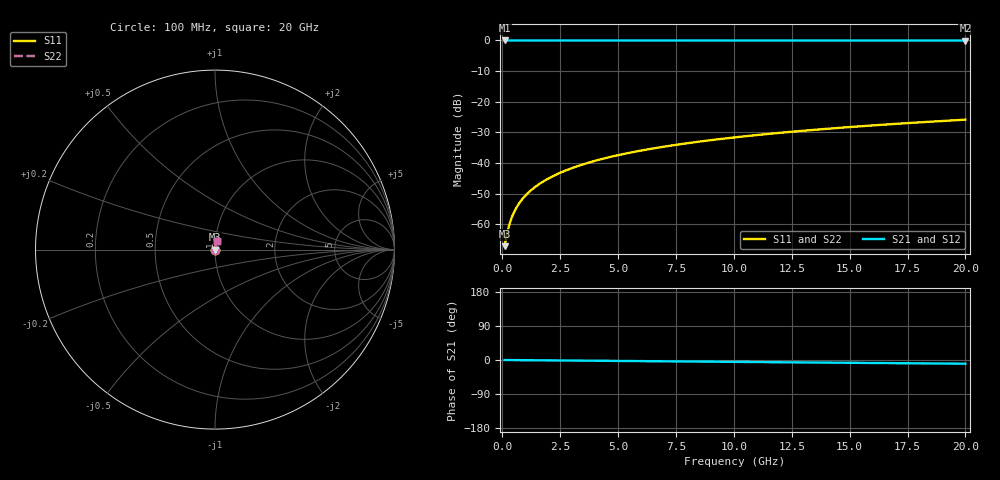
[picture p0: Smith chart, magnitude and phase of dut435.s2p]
! Touchstone file exported from HFSS 2026.1.0
!  File:  C:/ffzhzh/LocalFiles/Ansys_Project_Files/temp_train_TSV_435_1783021259_51716.aedt
!  Generated:  03:42:43 AM Jul  3, 2026
!  Design:  TSV
!  Project:  temp_train_TSV_435_1783021259_51716
! Variables:
!  h_bsmrdl = 2um
!  h_ox = 20um
!  h_rdl = 5um
!  h_sub = 96.08um
!  h_tmrdl = 5um
!  h_tsv = 96.08um
!  h_via = 3um
!  l_bsmrdl = 300um
!  l_sub = 412.6um
!  l_tmrdl = 200um
!  m_sub = 200um
!  pitch = 39.03um
!  r_tsv = 6.3um
!  s_tmrdl = 10um
!  w_bsmrdl = 18um
!  w_sub = 500um
!  w_tmrdl = 12um
!  x_tsv_center1 = 206um
!  x_tsv_center2 = 524um
!  x_tsv_center3 = 736um
!  x_tsv_center4 = 1054um
!  x_tsv_center5 = 1266um
!  x_tsv_center6 = 1584um
# GHz S MA R 50.000000
! Terminal data exported
! Port[1] = TSV1_1_T1
! Port[2] = TSV1_1_T2
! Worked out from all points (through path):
!   200 points, 100 MHz to 20 GHz, reference 50 ohm
!   highest |S21| = 0.00 dB at 100 MHz (marker M1); lowest = 0.0 dB at 20 GHz (marker M2)
!   group delay of S21, straight-line fit = 1.36 ps
!   lowest |S11| = -67.2 dB at 100 MHz (marker M3), VSWR 1.00, Z = 50 + j0.0307 ohm
!   |S11| at or under -10 dB: start of sweep to end of sweep
!   |S22| runs from -67.2 to -25.9 dB; largest |S21 - S12| = 1.3e-15
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0.1  0.0004373 44.5  0.9997 -0.1  0.9997 -0.1  0.0004373 44.5
! Gamma 0 0 0 0
! Port Impedance 50 0 50 0
0.2  0.0006914 62.1  0.9997 -0.1  0.9997 -0.1  0.0006914 62.1
0.3  0.0009735 69.4  0.9997 -0.2  0.9997 -0.2  0.0009735 69.4
0.4  0.001261 73.2  0.9996 -0.2  0.9996 -0.2  0.001261 73.2
0.5  0.001548 75.3  0.9996 -0.3  0.9996 -0.3  0.001548 75.3
0.6  0.001831 76.7  0.9996 -0.3  0.9996 -0.3  0.001831 76.7
0.7  0.002111 77.7  0.9996 -0.4  0.9996 -0.4  0.002111 77.7
0.8  0.002388 78.4  0.9995 -0.4  0.9995 -0.4  0.002388 78.4
1  0.002933 79.5  0.9995 -0.5  0.9995 -0.5  0.002933 79.5
1.4  0.004003 80.8  0.9994 -0.7  0.9994 -0.7  0.004003 80.8
1.7  0.004797 81.5  0.9993 -0.9  0.9993 -0.9  0.004797 81.5
2  0.005589 82.0  0.9993 -1.0  0.9993 -1.0  0.005589 82.0
2.7  0.007427 82.6  0.9992 -1.4  0.9992 -1.4  0.007427 82.6
3.5  0.009514 83.0  0.9991 -1.7  0.9991 -1.7  0.009514 83.0
4.2  0.01133 83.0  0.999 -2.1  0.999 -2.1  0.01133 83.0
5  0.01339 83.0  0.9989 -2.5  0.9989 -2.5  0.01339 83.0
6.8  0.01797 82.7  0.9986 -3.4  0.9986 -3.4  0.01797 82.7
8.3  0.02177 82.3  0.9984 -4.1  0.9984 -4.1  0.02177 82.3
10.1  0.0263 81.7  0.9981 -5.0  0.9981 -5.0  0.0263 81.7
13.4  0.03455 80.6  0.9977 -6.6  0.9977 -6.6  0.03455 80.6
16.7  0.04274 79.2  0.9972 -8.2  0.9972 -8.2  0.04274 79.2
20  0.05083 77.8  0.9966 -9.8  0.9966 -9.8  0.05083 77.8
